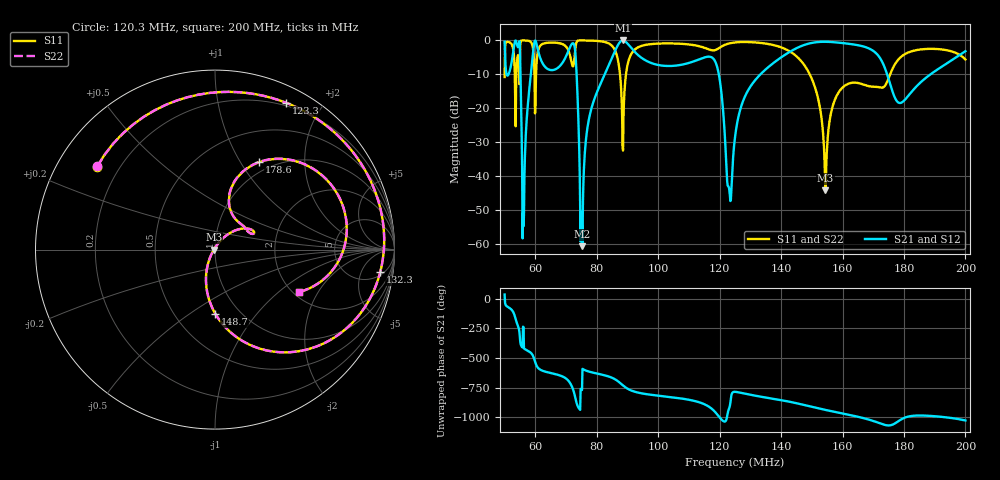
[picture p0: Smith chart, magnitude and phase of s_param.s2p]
! TOUCHSTONE file generated by CST MICROWAVE STUDIO
! Date and time: Wed Aug 21 09:14:22 2024
! Project name: MRI Body Coil 60cm 3T w phantom - wo meshrefiner - FD - Open Boundaries Add Space.cst
! Parameters = {C=17.8; C_tune_1=17.8; C_tune_2=17.8; Cs=9.73; L_tune=0; R_tune=40; Rs=1.09121; phantom_x_max=85; phantom_x_min=-85; phantom_y_max=-1.508; phantom_y_min=-31.508; phantom_z_max=360; phantom_z_min=240; state=21; state_2=8}
! Header version: 2024
! Port assignment regex: !\s*Touchstone port\s*([0-9]+)\s*=\s*(CST MWS port|CST DES external port|CST DES block port)\s*(.+)\s* \(\"(.*)\"\)(\s*mode\s*([0-9]+))?.*
! Touchstone port assignment:
! Touchstone port 1 = CST MWS port 1 ("")
! Touchstone port 2 = CST MWS port 5 ("")
# MHz S RI R 50
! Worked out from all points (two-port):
!   1001 points, 50 MHz to 200 MHz, reference 50 ohm
!   highest |S21| = -0.01 dB at 88.55 MHz (marker M1); lowest = -60.6 dB at 75.35 MHz (marker M2)
!   |S21| within 3 dB of the highest: 85.98 MHz to 92 MHz (6.019 MHz wide, 6.76 % of centre); 143.5 MHz to 169.9 MHz (26.41 MHz wide, 16.9 % of centre)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
!   lowest |S11| = -44.2 dB at 154.4 MHz (marker M3), VSWR 1.01, Z = 49.4 + j0.0434 ohm
!   |S11| at or under -10 dB: 59.72 MHz to 60.24 MHz (521.5 kHz wide, 0.87 % of centre); 87.56 MHz to 89.51 MHz (1.949 MHz wide, 2.2 % of centre); 149.3 MHz to 175.5 MHz (26.14 MHz wide, 16.1 % of centre)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
!   |S22| runs from -44.4 to 0.0 dB; largest |S21 - S12| = 1.4e-09
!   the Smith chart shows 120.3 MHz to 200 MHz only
!   S11 on the Smith chart (normalised r, x): 120.3 MHz: 0.12, +0.31; 123.3 MHz: 0.17, +1.58; 132.3 MHz: 6, -11; 148.7 MHz: 0.78, -0.64; 178.6 MHz: 0.87, +1.21; 200 MHz: 2.14, -1.40
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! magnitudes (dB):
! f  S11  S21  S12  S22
! 50 MHz  -10.8  -0.4  -0.4  -10.8
! 54.35 MHz  -4.4  -2.0  -2.0  -4.4
! 56.3 MHz  0.0  -51.4  -51.4  0.0
! 59.75 MHz  -10.9  -0.4  -0.4  -10.9
! 72.35 MHz  -7.6  -0.8  -0.8  -7.6
! 75.05 MHz  0.0  -50.6  -50.6  0.0
! 75.35 MHz  0.0  -60.6  -60.6  0.0
! 78.05 MHz  0.0  -20.8  -20.8  0.0
! 85.7 MHz  -2.5  -3.6  -3.6  -2.5
! 88.55 MHz  -32.4  0.0  0.0  -32.4
! 100.1 MHz  -0.9  -7.2  -7.2  -0.9
! 120.3 MHz  -1.9  -13.7  -13.7  -1.9
! 123.3 MHz  -0.8  -45.9  -45.9  -0.8
! 125 MHz  -0.6  -28.6  -28.6  -0.6
! 132.3 MHz  -0.6  -10.9  -10.9  -0.6
! 148.7 MHz  -8.9  -1.0  -1.0  -8.9
! 150.1 MHz  -11.4  -0.7  -0.7  -11.4
! 154.4 MHz  -44.2  -0.4  -0.4  -44.4
! 159.3 MHz  -14.5  -0.7  -0.7  -14.5
! 175.1 MHz  -10.9  -11.7  -11.7  -10.8
! 178.6 MHz  -5.3  -18.4  -18.4  -5.2
! 200 MHz  -5.6  -3.2  -3.2  -5.6
